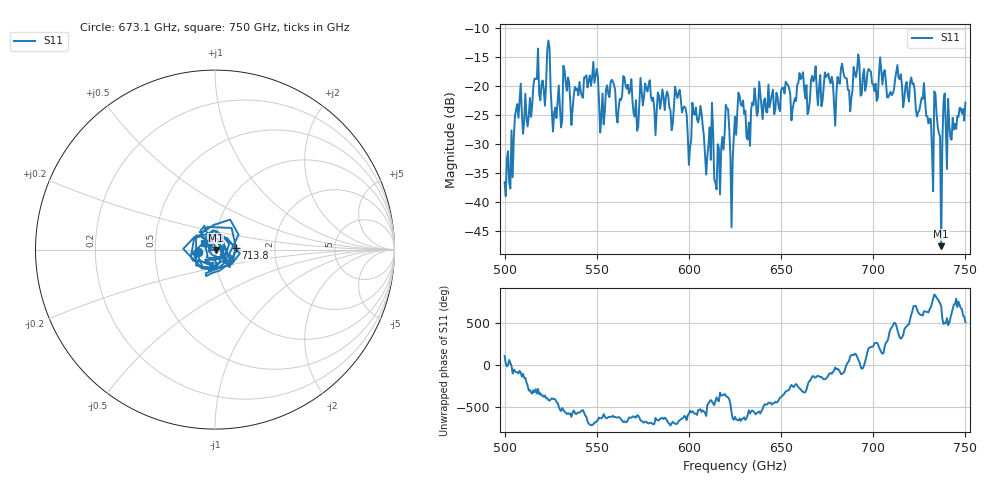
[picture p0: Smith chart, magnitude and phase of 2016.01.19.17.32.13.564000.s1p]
!Created with skrf (http://scikit-rf.org).
# GHz S RI R 50.0
!freq ReS11 ImS11
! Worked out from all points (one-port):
!   401 points, 500 GHz to 750 GHz, reference 50 ohm
!   lowest |S11| = -47.7 dB at 736.9 GHz (marker M1), VSWR 1.01, Z = 50.4 - j0.181 ohm
!   |S11| at or under -10 dB: start of sweep to end of sweep
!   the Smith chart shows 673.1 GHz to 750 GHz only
!   S11 on the Smith chart (normalised r, x): 673.1 GHz: 0.82, -0.02; 713.8 GHz: 1.27, +0.02; 750 GHz: 0.88, +0.07
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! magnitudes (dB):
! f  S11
! 500 GHz  -36.6
! 507.5 GHz  -25.5
! 513.1 GHz  -25.1
! 516.9 GHz  -18.7
! 531.2 GHz  -26.0
! 549.4 GHz  -18.2
! 553.1 GHz  -21.3
! 558.8 GHz  -19.3
! 562.5 GHz  -22.2
! 593.8 GHz  -22.1
! 615.6 GHz  -30.1
! 620.6 GHz  -23.8
! 623.1 GHz  -44.4
! 625 GHz  -25.3
! 628.1 GHz  -23.2
! 631.9 GHz  -29.2
! 635 GHz  -23.3
! 656.2 GHz  -24.0
! 673.1 GHz  -20.2
! 687.5 GHz  -24.4
! 713.8 GHz  -18.6
! 718.8 GHz  -21.5
! 727.5 GHz  -19.5
! 731.2 GHz  -25.7
! 734.4 GHz  -24.9
! 736.9 GHz  -47.7
! 739.4 GHz  -27.0
! 750 GHz  -22.9
